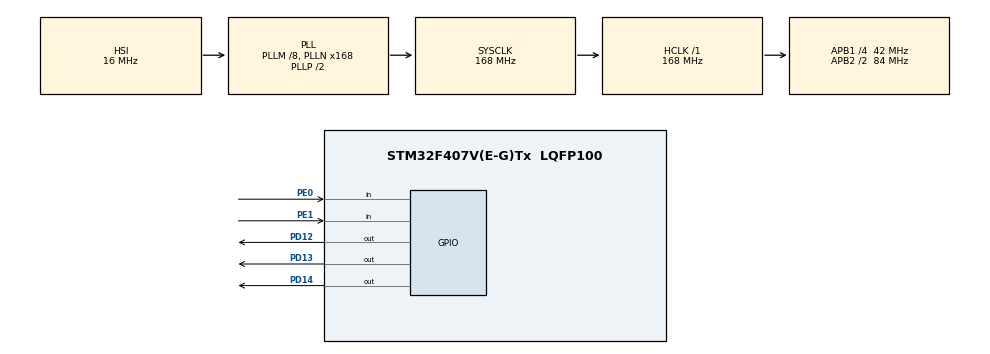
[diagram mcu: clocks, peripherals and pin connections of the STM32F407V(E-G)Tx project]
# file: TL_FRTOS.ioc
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FREERTOS.Tasks01=traffic_light_t,0,128,start_traffic_light_task,Default,NULL,Dynamic,NULL,NULL;enable_button_t,2,128,start_enable_button_task,Default,NULL,Dynamic,NULL,NULL;pedestrian_butt,1,128,start_pedestrian_button_task,Default,NULL,Dynamic,NULL,NULL
Mcu.Family=STM32F4
Mcu.Name=STM32F407V(E-G)Tx
Mcu.Package=LQFP100
NVIC.PriorityGroup=NVIC_PRIORITYGROUP_4
NVIC.TIM1_UP_TIM10_IRQn=true\:15\:0\:false\:false\:true\:false\:false\:true
NVIC.TimeBase=TIM1_UP_TIM10_IRQn
NVIC.TimeBaseIP=TIM1
PD12.Signal=GPIO_Output
PD13.Signal=GPIO_Output
PD14.Signal=GPIO_Output
PE0.GPIO_PuPd=GPIO_PULLDOWN
PE0.Signal=GPIO_Input
PE1.GPIO_PuPd=GPIO_PULLDOWN
PE1.Signal=GPIO_Input
PH0-OSC_IN.Mode=HSE-External-Oscillator
PH0-OSC_IN.Signal=RCC_OSC_IN
PH1-OSC_OUT.Mode=HSE-External-Oscillator
PH1-OSC_OUT.Signal=RCC_OSC_OUT
ProjectManager.HeapSize=0x200
ProjectManager.StackSize=0x400
ProjectManager.TargetToolchain=Makefile
RCC.48MHZClocksFreq_Value=84000000
RCC.AHBFreq_Value=168000000
RCC.APB1CLKDivider=RCC_HCLK_DIV4
RCC.APB1Freq_Value=42000000
RCC.APB1TimFreq_Value=84000000
RCC.APB2CLKDivider=RCC_HCLK_DIV2
RCC.APB2Freq_Value=84000000
RCC.APB2TimFreq_Value=168000000
RCC.CortexFreq_Value=168000000
RCC.HCLKFreq_Value=168000000
RCC.HSE_VALUE=25000000
RCC.HSI_VALUE=16000000
RCC.LSE_VALUE=32768
RCC.PLLM=8
RCC.PLLN=168
RCC.SYSCLKFreq_VALUE=168000000
RCC.SYSCLKSource=RCC_SYSCLKSOURCE_PLLCLK
RCC.VCOOutputFreq_Value=336000000
VP_FREERTOS_VS_CMSIS_V1.Mode=CMSIS_V1
VP_SYS_VS_tim1.Mode=TIM1
board=custom

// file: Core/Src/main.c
/* USER CODE BEGIN Header */
/**
  ******************************************************************************
  * @file           : main.c
  * @brief          : Main program body
  ******************************************************************************
  * @attention
  *
  * Copyright (c) 2022 STMicroelectronics.
  * All rights reserved.
  *
  * This software is licensed under terms that can be found in the LICENSE file
  * in the root directory of this software component.
  * If no LICENSE file comes with this software, it is provided AS-IS.
  *
  ******************************************************************************
  */
/* USER CODE END Header */
#include "main.h"
#include "cmsis_os.h"

/* USER CODE BEGIN Includes */
#include "traffic_light_functions.h"
/* USER CODE END Includes */

osThreadId traffic_light_tHandle;
osThreadId enable_button_tHandle;
osThreadId pedestrian_buttHandle;

void SystemClock_Config(void);
static void MX_GPIO_Init(void);
void start_traffic_light_task(void const * argument);
void start_enable_button_task(void const * argument);
void start_pedestrian_button_task(void const * argument);

/* USER CODE BEGIN 0 */
B_TaskData enable_button_data;
static unsigned int enable_button_output = 1;
static unsigned int enable_button_input = 0;
static B_STATE enable_button_state = B_SMStart;

B_TaskData pedestrian_button_data;
static unsigned int pedestrian_button_output = 0;
static unsigned int pedestrian_button_input = 0;
static B_STATE pedestrian_button_state = B_SMStart;

TL_TaskData tl_taskData;
static TL_STATE tl_state = TL_SMStart;
/* USER CODE END 0 */

int main(void)
{

  /* MCU Configuration--------------------------------------------------------*/

  /* Reset of all peripherals, Initializes the Flash interface and the Systick. */
  HAL_Init();

  /* Configure the system clock */
  SystemClock_Config();

  /* Initialize all configured peripherals */
  MX_GPIO_Init();
  /* USER CODE BEGIN 2 */
  B_TaskData enable_button_data = initialize_Bstruct(&enable_button_output, &enable_button_input, &enable_button_state);
  B_TaskData pedestrian_button_data = initialize_Bstruct(&pedestrian_button_output, &pedestrian_button_input, &pedestrian_button_state);
  tl_taskData = initialize_TLstruct(&tl_state, &enable_button_output, &pedestrian_button_output);
  /* USER CODE END 2 */

  /* Create the thread(s) */
  /* definition and creation of traffic_light_t */
  osThreadDef(traffic_light_t, start_traffic_light_task, osPriorityNormal, 0, 128);
  traffic_light_tHandle = osThreadCreate(osThread(traffic_light_t), NULL);

  /* definition and creation of enable_button_t */
  osThreadDef(enable_button_t, start_enable_button_task, osPriorityHigh, 0, 128);
  enable_button_tHandle = osThreadCreate(osThread(enable_button_t), NULL);

  /* definition and creation of pedestrian_butt */
  osThreadDef(pedestrian_butt, start_pedestrian_button_task, osPriorityAboveNormal, 0, 128);
  pedestrian_buttHandle = osThreadCreate(osThread(pedestrian_butt), NULL);

  /* Start scheduler */
  osKernelStart();

  /* We should never get here as control is now taken by the scheduler */
  /* Infinite loop */
  while (1)
  {

  }
}

void SystemClock_Config(void)
{
  RCC_OscInitTypeDef RCC_OscInitStruct = {0};
  RCC_ClkInitTypeDef RCC_ClkInitStruct = {0};

  /** Configure the main internal regulator output voltage
  */
  __HAL_RCC_PWR_CLK_ENABLE();
  __HAL_PWR_VOLTAGESCALING_CONFIG(PWR_REGULATOR_VOLTAGE_SCALE1);
  /** Initializes the RCC Oscillators according to the specified parameters
  * in the RCC_OscInitTypeDef structure.
  */
  RCC_OscInitStruct.OscillatorType = RCC_OSCILLATORTYPE_HSI;
  RCC_OscInitStruct.HSIState = RCC_HSI_ON;
  RCC_OscInitStruct.HSICalibrationValue = RCC_HSICALIBRATION_DEFAULT;
  RCC_OscInitStruct.PLL.PLLState = RCC_PLL_ON;
  RCC_OscInitStruct.PLL.PLLSource = RCC_PLLSOURCE_HSI;
  RCC_OscInitStruct.PLL.PLLM = 8;
  RCC_OscInitStruct.PLL.PLLN = 168;
  RCC_OscInitStruct.PLL.PLLP = RCC_PLLP_DIV2;
  RCC_OscInitStruct.PLL.PLLQ = 4;
  if (HAL_RCC_OscConfig(&RCC_OscInitStruct) != HAL_OK)
  {
    Error_Handler();
  }
  /** Initializes the CPU, AHB and APB buses clocks
  */
  RCC_ClkInitStruct.ClockType = RCC_CLOCKTYPE_HCLK|RCC_CLOCKTYPE_SYSCLK
                              |RCC_CLOCKTYPE_PCLK1|RCC_CLOCKTYPE_PCLK2;
  RCC_ClkInitStruct.SYSCLKSource = RCC_SYSCLKSOURCE_PLLCLK;
  RCC_ClkInitStruct.AHBCLKDivider = RCC_SYSCLK_DIV1;
  RCC_ClkInitStruct.APB1CLKDivider = RCC_HCLK_DIV4;
  RCC_ClkInitStruct.APB2CLKDivider = RCC_HCLK_DIV2;

  if (HAL_RCC_ClockConfig(&RCC_ClkInitStruct, FLASH_LATENCY_5) != HAL_OK)
  {
    Error_Handler();
  }
}

static void MX_GPIO_Init(void)
{
  GPIO_InitTypeDef GPIO_InitStruct = {0};

  /* GPIO Ports Clock Enable */
  __HAL_RCC_GPIOH_CLK_ENABLE();
  __HAL_RCC_GPIOD_CLK_ENABLE();
  __HAL_RCC_GPIOE_CLK_ENABLE();

  /*Configure GPIO pin Output Level */
  HAL_GPIO_WritePin(GPIOD, GPIO_PIN_12|GPIO_PIN_13|GPIO_PIN_14, GPIO_PIN_RESET);

  /*Configure GPIO pins : PD12 PD13 PD14 */
  GPIO_InitStruct.Pin = GPIO_PIN_12|GPIO_PIN_13|GPIO_PIN_14;
  GPIO_InitStruct.Mode = GPIO_MODE_OUTPUT_PP;
  GPIO_InitStruct.Pull = GPIO_NOPULL;
  GPIO_InitStruct.Speed = GPIO_SPEED_FREQ_LOW;
  HAL_GPIO_Init(GPIOD, &GPIO_InitStruct);

  /*Configure GPIO pins : PE0 PE1 */
  GPIO_InitStruct.Pin = GPIO_PIN_0|GPIO_PIN_1;
  GPIO_InitStruct.Mode = GPIO_MODE_INPUT;
  GPIO_InitStruct.Pull = GPIO_PULLDOWN;
  HAL_GPIO_Init(GPIOE, &GPIO_InitStruct);

}

void start_traffic_light_task(void const * argument)
{
  /* USER CODE BEGIN 5 */
  // cycle the traffic light finite-state machine
  trafficLight(tl_taskData);
  /* Infinite loop */
  for(;;)
  {
    osDelay(500);
  }
  /* USER CODE END 5 */
}

void start_enable_button_task(void const * argument)
{
  /* USER CODE BEGIN start_enable_button_task */
  if (HAL_GPIO_ReadPin(GPIOE, GPIO_PIN_0)) {
    *(enable_button_data.button_input) = 1;
  } else {
    *(enable_button_data.button_input) = 0;
  }
  button(enable_button_data);
  /* Infinite loop */
  for(;;)
  {
    osDelay(500);
  }
  /* USER CODE END start_enable_button_task */
}

void start_pedestrian_button_task(void const * argument)
{
  /* USER CODE BEGIN start_pedestrian_button_task */
	// read if the pedestrian button is pressed
  if (HAL_GPIO_ReadPin(GPIOE, GPIO_PIN_1)) {
    *(pedestrian_button_data.button_input) = 1;
  } else {
	*(pedestrian_button_data.button_input) = 0;
  }
  // cycle the pedestrian button FSM
  button(pedestrian_button_data);
  /* Infinite loop */
  for(;;)
  {
    osDelay(1);
  }
  /* USER CODE END start_pedestrian_button_task */
}

void HAL_TIM_PeriodElapsedCallback(TIM_HandleTypeDef *htim)
{
  if (htim->Instance == TIM1) {
    HAL_IncTick();
  }
}

void Error_Handler(void)
{
  __disable_irq();
  while (1)
  {
  }
}
